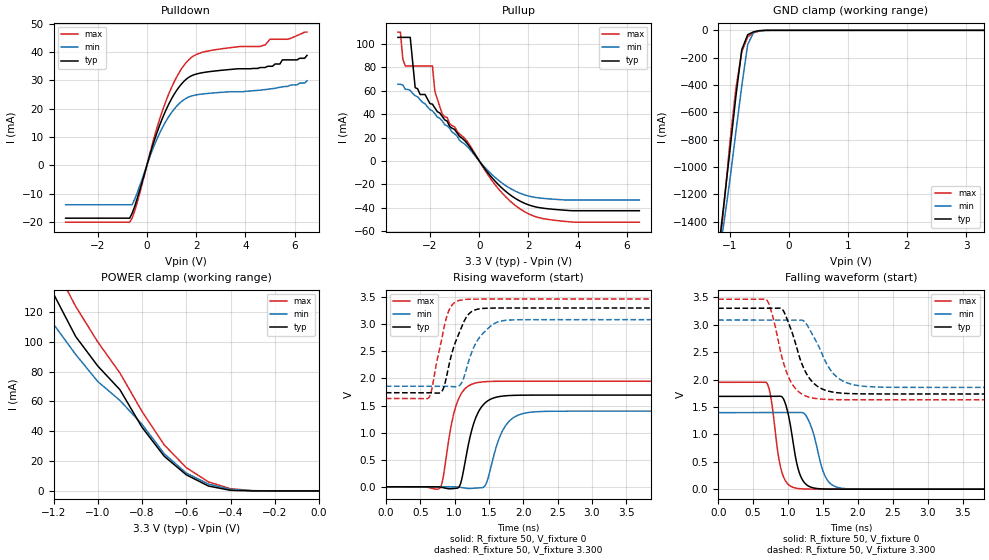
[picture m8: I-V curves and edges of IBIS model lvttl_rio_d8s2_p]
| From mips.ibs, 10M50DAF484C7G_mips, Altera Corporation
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|MODEL lvttl_rio_d8s2_p
[Model]   lvttl_rio_d8s2_p
Model_type   I/O
Polarity   Non-Inverting
Enable Active-Low
Vinl   = 0.800
Vinh   = 1.700
Vmeas  = 1.650
Rref   = 10M
Cref   = 0pF
Vref   = 0.000
C_comp 4.5pF   4.5pF   4.5pF
[Model Spec]
Vinh   1.700   1.700   1.700
Vinl   0.800   0.800   0.800
[Temperature Range]   25   85   0
[Voltage Range]   3.300   3.085   3.465
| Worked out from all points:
|   slope of the pulldown table from 0 to 0.495 V, typ, clamps not added: 36.4 ohm
|   slope of the pullup table from 0 to 0.495 V, typ, clamps not added: 35.8 ohm
|   GND clamp passes 1 mA (typ) near -0.44 V on its own axis
|   POWER clamp passes 1 mA (typ) near -0.42 V on its own axis
|   rising waveform, R_fixture 50, V_fixture 0: 20-80 % time 200ps typ, 224ps min, 178ps max; typ from 0 V to 1.69 V
|   falling waveform, R_fixture 50, V_fixture 0: 20-80 % time 147ps typ, 178ps min, 126ps max; typ from 1.69 V to 0 V
|   rising waveform, R_fixture 50, V_fixture 3.300: 20-80 % time 229ps typ, 265ps min, 178ps max; typ from 1.74 V to 3.3 V
|   falling waveform, R_fixture 50, V_fixture 3.300: 20-80 % time 271ps typ, 314ps min, 232ps max; typ from 3.3 V to 1.74 V
[GND Clamp]
| voltage   I (typ)   I (min)   I (max)
-3.3V     -8.619A    -7.723A    -10.11A
-1.2V     -1.623A    -1.685A    -1.728A
-1.1V     -1.258A    -1.401A    -1.271A
-1V       -874.3mA   -1.09A     -814.9mA
-900mV    -483mA     -743mA     -424.7mA
-800mV    -141mA     -406.5mA   -156.9mA
-700mV    -32.06mA   -104.1mA   -47.73mA
-600mV    -10.6mA    -15.56mA   -17.79mA
-500mV    -2.181mA   -3.118mA   -5.472mA
-400mV    -180.7uA   -399.8uA   -1.032mA
3.3V      0A         0A         0A
[Pulldown]
| voltage   I (typ)   I (min)   I (max)
-3.3V     -18.71mA   -13.96mA   -20.13mA
-700mV    -18.71mA   -13.96mA   -20.13mA
-500mV    -14.67mA   -12.15mA   -16.29mA
300mV     8.712mA    7.036mA    9.99mA
700mV     18.07mA    14.45mA    20.96mA
1.3V      27.6mA     21.69mA    32.61mA
1.8V      31.58mA    24.44mA    38.07mA
2.7V      33.26mA    25.56mA    40.73mA
4.6V      34.54mA    26.55mA    41.99mA
5.1V      34.99mA    27.09mA    44.54mA
5.5V      37.25mA    27.71mA    44.54mA
6.5V      38.82mA    29.8mA     47.07mA
[Power Clamp]
| voltage   I (typ)   I (min)   I (max)
-3.3V     557.2mA    479.9mA    642.4mA
-1.4V     165.1mA    143.8mA    193.2mA
-1.3V     145.9mA    126mA      171.4mA
-1.2V     132.2mA    111.9mA    152.2mA
-1.1V     103.6mA    91.57mA    123.8mA
-1V       83.78mA    73.38mA    99.91mA
-900mV    67.9mA     60.7mA     79.13mA
-800mV    42.69mA    44.68mA    53.29mA
-700mV    23.3mA     24.96mA    30.9mA
-600mV    10.8mA     11.98mA    15.6mA
-400mV    388.6uA    1.05mA     1.475mA
0V        0A         0A         0A
[Pullup]
| voltage   I (typ)   I (min)   I (max)
-3.3V     105.7mA    65.57mA    110.3mA
-3.2V     105.7mA    65.57mA    110.3mA
-3.1V     105.7mA    64.93mA    86.84mA
-2.8V     105.7mA    60.31mA    81.25mA
-2.6V     62.68mA    55.84mA    81.25mA
-2.4V     56.85mA    52.36mA    81.25mA
-1.9V     48.56mA    42.85mA    81.25mA
-1.8V     45.34mA    40.41mA    59.44mA
-1.5V     38.04mA    34.21mA    40.08mA
1.5V      -32.53mA   -26.22mA   -38.71mA
2.9V      -41.2mA    -32.62mA   -50.42mA
6.5V      -42.64mA   -33.44mA   -52.46mA
[Ramp]
dV/dt_r   1.015e+00/2.002e-10 8.378e-01/2.245e-10 1.170e+00/1.780e-10
dV/dt_f   9.382e-01/2.705e-10 7.373e-01/3.137e-10 1.101e+00/2.323e-10
R_load = 50ohms
[Rising Waveform]
R_fixture   = 50
V_fixture   = 0
V_fixture_min = 0
V_fixture_max = 0
| time   V (typ)   V (min)   V (max)
0s        167.1nV    1.89uV     321.1nV
791.1ps   -6.068mV   48.73uV    -19.76mV
832.4ps   -18.02mV   95.28uV    158.5mV
963.1ps   -35.44mV   619.1uV    1.206V
1.073ns   13.32mV    -8.682mV   1.662V
1.314ns   1.29V      -23.64mV   1.918V
1.459ns   1.563V     53.78mV    1.941V
1.734ns   1.679V     1.11V      1.948V
2.036ns   1.691V     1.363V     1.949V
6.873ns   1.692V     1.396V     1.949V
[Falling Waveform]
R_fixture   = 50
V_fixture   = 0
V_fixture_min = 0
V_fixture_max = 0
| time   V (typ)   V (min)   V (max)
0s        1.692V     1.396V     1.949V
697.1ps   1.692V     1.396V     1.933V
758.6ps   1.692V     1.396V     1.64V
902.1ps   1.692V     1.396V     349.7mV
997.7ps   1.392V     1.396V     91.97mV
1.107ns   577.2mV    1.397V     19.9mV
1.271ns   73.55mV    1.31V      2.041mV
1.524ns   2.912mV    251.8mV    59.28uV
1.743ns   176.6uV    22.08mV    2.986uV
6.827ns   -236.9nV   2.108uV    282.1nV
[Rising Waveform]
R_fixture   = 50
V_fixture   = 3.300
V_fixture_min   = 3.085
V_fixture_max   = 3.465
| time   V (typ)   V (min)   V (max)
0s        1.736V     1.856V     1.63V
626ps     1.735V     1.856V     1.647V
667.3ps   1.734V     1.856V     1.791V
811.8ps   1.755V     1.855V     2.717V
894.3ps   2.1V       1.854V     3.176V
1.087ns   2.898V     1.888V     3.446V
1.197ns   3.174V     2.283V     3.461V
1.341ns   3.28V      2.717V     3.464V
1.706ns   3.3V       3.066V     3.465V
6.873ns   3.3V       3.085V     3.465V
[Falling Waveform]
R_fixture   = 50
V_fixture   = 3.300
V_fixture_min   = 3.085
V_fixture_max   = 3.465
| time   V (typ)   V (min)   V (max)
0s        3.3V       3.085V     3.465V
697.1ps   3.3V       3.085V     3.45V
792.7ps   3.3V       3.085V     3.094V
908.9ps   3.291V     3.085V     2.424V
1.011ns   3.017V     3.085V     2.031V
1.216ns   2.227V     3.076V     1.72V
1.339ns   1.968V     2.838V     1.665V
1.654ns   1.768V     2.1V       1.633V
2.023ns   1.739V     1.886V     1.63V
6.827ns   1.736V     1.856V     1.63V
